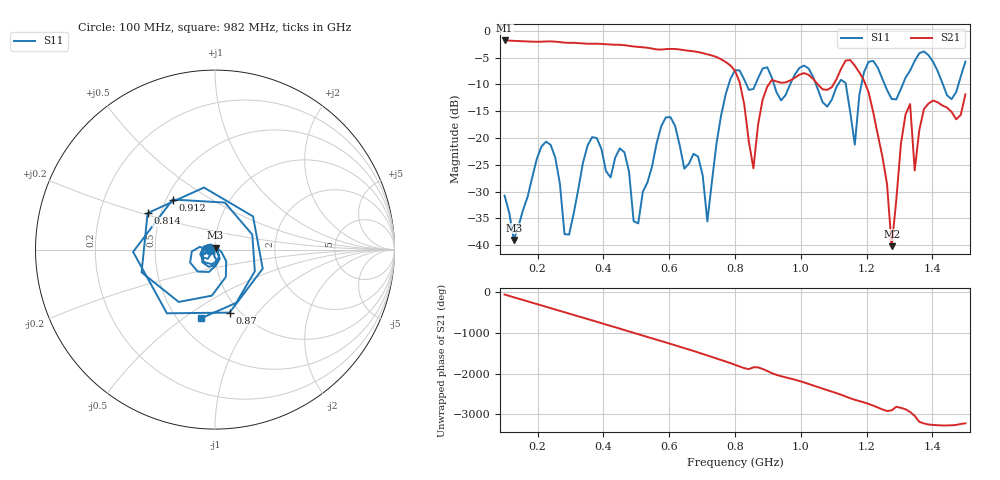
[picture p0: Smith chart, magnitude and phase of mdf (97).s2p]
! NanoVNA-App
! Date: 2025-09-25 15:39:11
! Start: 100MHz Stop: 1,5GHz Points: 101
! S-Parameter data: F S11 S21 S12 S22
# Hz S RI R 50
!  Frequency  S11_Real  S11_Imag  S21_Real  S21_Imag  S12_Real  S12_Imag  S22_Real  S22_Imag
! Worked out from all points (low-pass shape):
!   101 points, 100 MHz to 1.5 GHz, reference 50 ohm
!   highest |S21| = -1.80 dB at 100 MHz (marker M1); lowest = -40.2 dB at 1.276 GHz (marker M2)
!   |S21| within 3 dB of the highest: start of sweep to 739.3 MHz
!   lowest |S11| = -39.0 dB at 128 MHz (marker M3), VSWR 1.02, Z = 50.3 + j1.07 ohm
!   |S11| at or under -10 dB: start of sweep to 781 MHz; 1.046 GHz to 1.113 GHz (67.31 MHz wide, 6.23 % of centre); 1.255 GHz to 1.31 GHz (54.95 MHz wide, 4.28 % of centre) (the widest 3 of 7)
!   S12 and S22 are empty: the file has one direction only
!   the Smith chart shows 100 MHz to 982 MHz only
!   S11 on the Smith chart (normalised r, x): 100 MHz: 0.94, -0.01; 814 MHz: 0.42, +0.21; 870 MHz: 0.90, -0.73; 912 MHz: 0.54, +0.35; 982 MHz: 0.65, -0.58
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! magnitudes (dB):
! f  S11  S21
! 100 MHz  -30.8  -1.8
! 128 MHz  -39.0  -1.9
! 212 MHz  -21.6  -2.0
! 282 MHz  -38.0  -2.2
! 338 MHz  -24.7  -2.4
! 464 MHz  -22.7  -2.7
! 506 MHz  -36.0  -3.0
! 576 MHz  -17.8  -3.5
! 716 MHz  -35.6  -4.4
! 800 MHz  -7.4  -7.5
! 814 MHz  -7.4  -9.6
! 856 MHz  -10.9  -25.7
! 870 MHz  -8.9  -17.5
! 912 MHz  -8.8  -9.2
! 982 MHz  -8.1  -8.8
! 1.038 GHz  -8.7  -9.0
! 1.164 GHz  -21.2  -6.5
! 1.192 GHz  -7.7  -9.3
! 1.276 GHz  -12.7  -40.2
! 1.332 GHz  -7.4  -13.7
! 1.346 GHz  -5.6  -26.1
! 1.5 GHz  -5.8  -11.9
